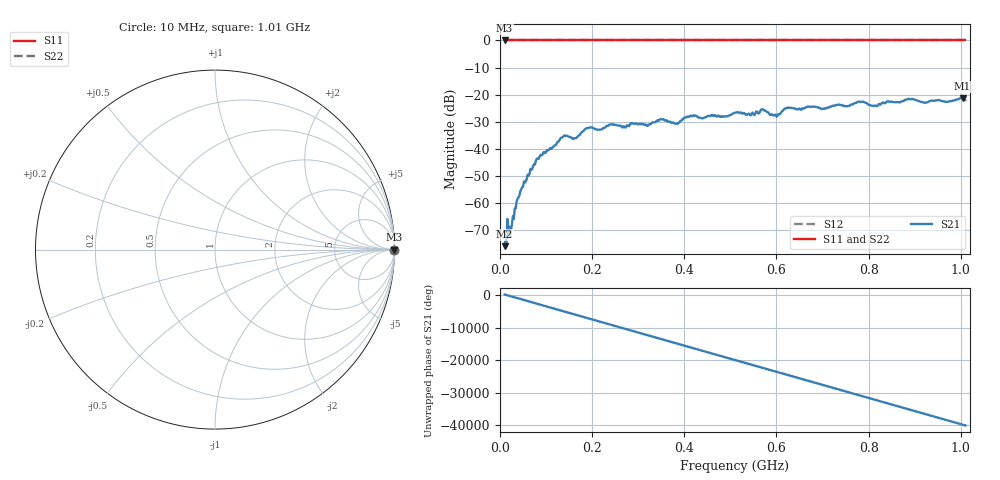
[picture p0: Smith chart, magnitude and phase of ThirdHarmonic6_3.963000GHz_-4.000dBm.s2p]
! 8/17/2025 2:04:31 PM
! C:\ANRITSUVNA\TEMP\TEMP.S2P
! CHANNEL.1
! TR.MEASUREMENT
! RAW.DATA
! RF.CORRECTION.OFF
! AVERAGING.OFF
! IF.BANDWIDTH: 5KHZ
! SWEEPTYPE:  FREQ.SWEEP(Linear)
! Reference Plane Port Info
! PORT:  PORT1  PORT2
! DISTANCE:  0  m  0  m
! TIME:  0  s  0  s
! PHASE.OFFSET:  0  deg.  0  deg.
! LOSS:  0  dB  0  dB
! REF.LOSS:  0  dB  0  dB
! REF.FREQ:  0  Hz  0  Hz
! Power Info
! POWER:  -20  dBm  -20  dBm
! EFF.POWER:  -20  dBm  -20  dBm
! SOURCE.ATTEN:  0  dB  0  dB
! TEST.ATTEN:  0  dB  0  dB
# GHZ S RI R 50.0
! FREQ.GHZ  S11RE  S11IM  S21RE  S21IM  S12RE  S12IM  S22RE  S22IM
!; PortSelection: Port_12
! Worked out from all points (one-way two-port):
!   501 points, 10 MHz to 1.01 GHz, reference 50 ohm
!   highest |S21| = -21.32 dB at 1.004 GHz (marker M1); lowest = -75.9 dB at 10 MHz (marker M2)
!   lowest |S11| = 0.0 dB at 10 MHz (marker M3)
!   |S11| at or under -10 dB: nowhere
!   |S22| runs from 0.0 to 0.0 dB; largest |S21 - S12| = 1.1
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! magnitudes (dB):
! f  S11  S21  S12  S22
! 10 MHz  0.0  -75.9  0.0  0.0
! 16 MHz  0.0  -65.8  0.0  0.0
! 26 MHz  0.0  -67.7  0.0  0.0
! 36 MHz  0.0  -59.5  0.0  0.0
! 48 MHz  0.0  -54.2  0.0  0.0
! 82 MHz  0.0  -43.6  0.0  0.0
! 136 MHz  0.0  -35.7  0.0  0.0
! 162 MHz  0.0  -36.1  0.0  0.0
! 178 MHz  0.0  -33.8  0.0  0.0
! 194 MHz  0.0  -32.1  0.0  0.0
! 322 MHz  0.0  -31.2  0.0  0.0
! 344 MHz  0.0  -29.7  0.0  0.0
! 384 MHz  0.0  -30.6  0.0  0.0
! 416 MHz  0.0  -27.9  0.0  0.0
! 510 MHz  0.0  -26.6  0.0  0.0
! 570 MHz  0.0  -25.4  0.0  0.0
! 598 MHz  0.0  -27.4  0.0  0.0
! 622 MHz  0.0  -25.0  0.0  0.0
! 678 MHz  0.0  -24.5  0.0  0.0
! 844 MHz  0.0  -22.6  0.0  0.0
! 1.004 GHz  0.0  -21.3  0.0  0.0
! 1.01 GHz  0.0  -22.0  0.0  0.0
